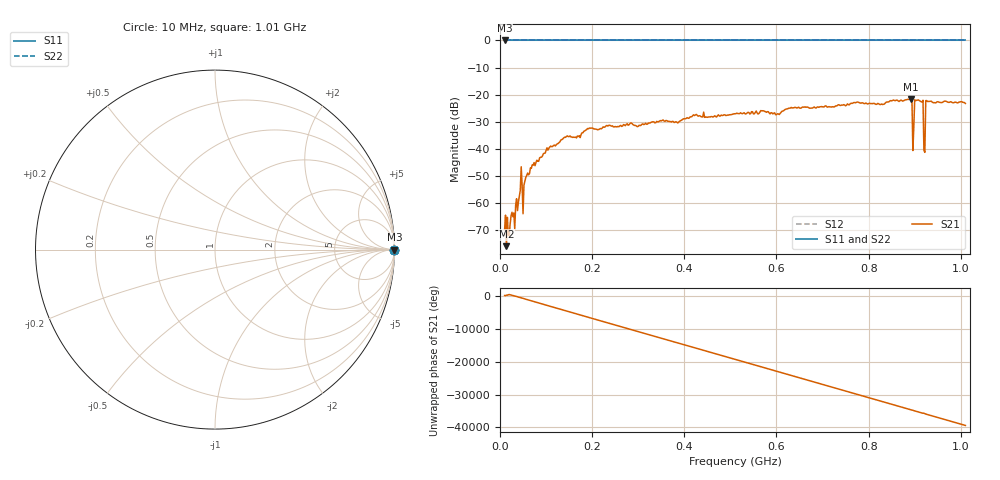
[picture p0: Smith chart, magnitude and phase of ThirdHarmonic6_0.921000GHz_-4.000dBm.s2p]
! 8/16/2025 6:04:34 AM
! C:\ANRITSUVNA\TEMP\TEMP.S2P
! CHANNEL.1
! TR.MEASUREMENT
! RAW.DATA
! RF.CORRECTION.OFF
! AVERAGING.OFF
! IF.BANDWIDTH: 5KHZ
! SWEEPTYPE:  FREQ.SWEEP(Linear)
! Reference Plane Port Info
! PORT:  PORT1  PORT2
! DISTANCE:  0  m  0  m
! TIME:  0  s  0  s
! PHASE.OFFSET:  0  deg.  0  deg.
! LOSS:  0  dB  0  dB
! REF.LOSS:  0  dB  0  dB
! REF.FREQ:  0  Hz  0  Hz
! Power Info
! POWER:  -20  dBm  -20  dBm
! EFF.POWER:  -20  dBm  -20  dBm
! SOURCE.ATTEN:  0  dB  0  dB
! TEST.ATTEN:  0  dB  0  dB
# GHZ S RI R 50.0
! FREQ.GHZ  S11RE  S11IM  S21RE  S21IM  S12RE  S12IM  S22RE  S22IM
!; PortSelection: Port_12
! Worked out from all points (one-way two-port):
!   501 points, 10 MHz to 1.01 GHz, reference 50 ohm
!   highest |S21| = -21.62 dB at 892 MHz (marker M1); lowest = -75.9 dB at 14 MHz (marker M2)
!   lowest |S11| = 0.0 dB at 10 MHz (marker M3)
!   |S11| at or under -10 dB: nowhere
!   |S22| runs from 0.0 to 0.0 dB; largest |S21 - S12| = 1.1
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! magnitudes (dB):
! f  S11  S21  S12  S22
! 10 MHz  0.0  -69.7  0.0  0.0
! 14 MHz  0.0  -75.9  0.0  0.0
! 18 MHz  0.0  -71.7  0.0  0.0
! 36 MHz  0.0  -58.4  0.0  0.0
! 44 MHz  0.0  -55.3  0.0  0.0
! 52 MHz  0.0  -53.4  0.0  0.0
! 70 MHz  0.0  -45.9  0.0  0.0
! 142 MHz  0.0  -35.7  0.0  0.0
! 178 MHz  0.0  -34.1  0.0  0.0
! 344 MHz  0.0  -30.0  0.0  0.0
! 510 MHz  0.0  -27.0  0.0  0.0
! 678 MHz  0.0  -24.9  0.0  0.0
! 844 MHz  0.0  -22.6  0.0  0.0
! 890 MHz  0.0  -21.6  0.0  0.0
! 892 MHz  0.0  -21.6  0.0  0.0
! 900 MHz  0.0  -21.9  0.0  0.0
! 904 MHz  0.0  -22.1  0.0  0.0
! 914 MHz  0.0  -22.6  0.0  0.0
! 918 MHz  0.0  -22.1  0.0  0.0
! 924 MHz  0.0  -22.2  0.0  0.0
! 928 MHz  0.0  -22.5  0.0  0.0
! 1.01 GHz  0.0  -23.2  0.0  0.0
